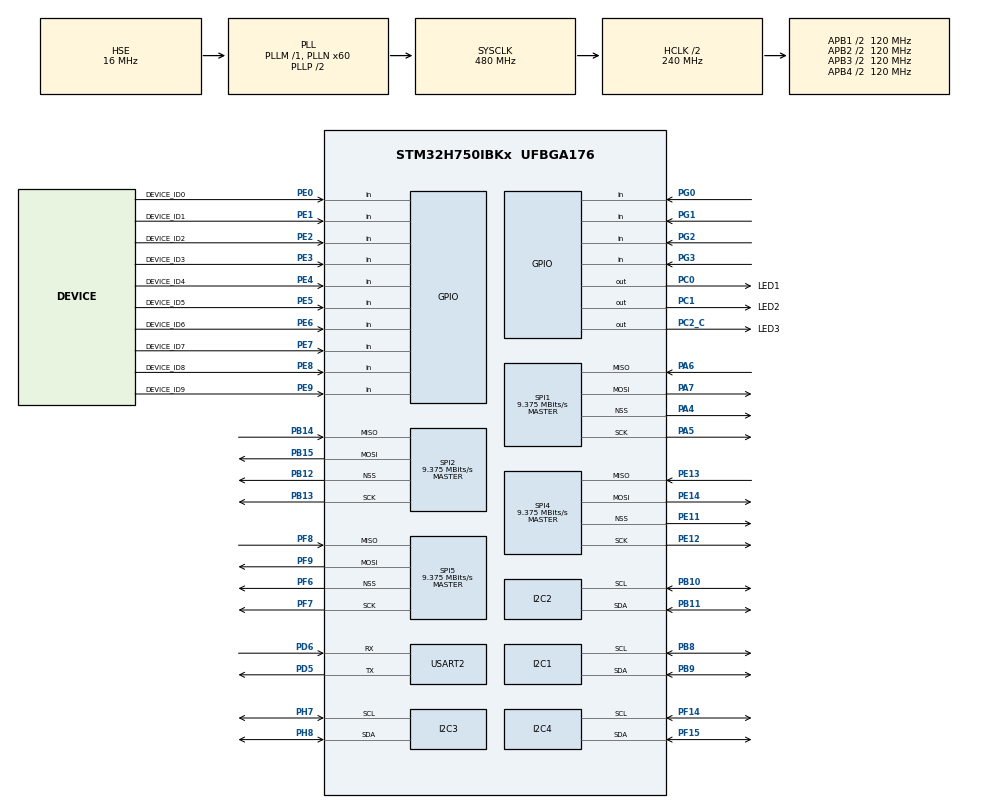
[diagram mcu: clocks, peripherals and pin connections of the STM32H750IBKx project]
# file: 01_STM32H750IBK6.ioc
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I2C1.Timing=0x307075B1
I2C2.Timing=0x307075B1
I2C3.Timing=0x307075B1
I2C4.Timing=0x307075B1
Mcu.Family=STM32H7
Mcu.Name=STM32H750IBKx
Mcu.Package=UFBGA176
NVIC.PriorityGroup=NVIC_PRIORITYGROUP_4
NVIC.USART2_IRQn=true\:0\:0\:false\:false\:true\:true\:true\:true
PA13\ (JTMS/SWDIO).Mode=JTAG_5_pins
PA13\ (JTMS/SWDIO).Signal=DEBUG_JTMS-SWDIO
PA14\ (JTCK/SWCLK).Mode=JTAG_5_pins
PA14\ (JTCK/SWCLK).Signal=DEBUG_JTCK-SWCLK
PA15\ (JTDI).Mode=JTAG_5_pins
PA15\ (JTDI).Signal=DEBUG_JTDI
PA4.Mode=NSS_Signal_Hard_Output
PA4.Signal=SPI1_NSS
PA5.Mode=Full_Duplex_Master
PA5.Signal=SPI1_SCK
PA6.Mode=Full_Duplex_Master
PA6.Signal=SPI1_MISO
PA7.Mode=Full_Duplex_Master
PA7.Signal=SPI1_MOSI
PB10.Mode=I2C
PB10.Signal=I2C2_SCL
PB11.Mode=I2C
PB11.Signal=I2C2_SDA
PB12.Mode=NSS_Signal_Hard_Output
PB12.Signal=SPI2_NSS
PB13.Mode=Full_Duplex_Master
PB13.Signal=SPI2_SCK
PB14.Mode=Full_Duplex_Master
PB14.Signal=SPI2_MISO
PB15.Mode=Full_Duplex_Master
PB15.Signal=SPI2_MOSI
PB3\ (JTDO/TRACESWO).Mode=JTAG_5_pins
PB3\ (JTDO/TRACESWO).Signal=DEBUG_JTDO-SWO
PB4\ (NJTRST).Mode=JTAG_5_pins
PB4\ (NJTRST).Signal=DEBUG_JTRST
PB8.Mode=I2C
PB8.Signal=I2C1_SCL
PB9.Mode=I2C
PB9.Signal=I2C1_SDA
PC0.GPIO_Label=LED1
PC0.PinState=GPIO_PIN_RESET
PC0.Signal=GPIO_Output
PC1.GPIO_Label=LED2
PC1.Signal=GPIO_Output
PC2_C.GPIO_Label=LED3
PC2_C.Signal=GPIO_Output
PD5.Mode=Asynchronous
PD5.Signal=USART2_TX
PD6.Mode=Asynchronous
PD6.Signal=USART2_RX
PE0.GPIO_Label=DEVICE_ID0
PE0.Signal=GPIO_Input
PE1.GPIO_Label=DEVICE_ID1
PE1.Signal=GPIO_Input
PE11.Mode=NSS_Signal_Hard_Output
PE11.Signal=SPI4_NSS
PE12.Mode=Full_Duplex_Master
PE12.Signal=SPI4_SCK
PE13.Mode=Full_Duplex_Master
PE13.Signal=SPI4_MISO
PE14.Mode=Full_Duplex_Master
PE14.Signal=SPI4_MOSI
PE2.GPIO_Label=DEVICE_ID2
PE2.Signal=GPIO_Input
PE3.GPIO_Label=DEVICE_ID3
PE3.Signal=GPIO_Input
PE4.GPIO_Label=DEVICE_ID4
PE4.Signal=GPIO_Input
PE5.GPIO_Label=DEVICE_ID5
PE5.Signal=GPIO_Input
PE6.GPIO_Label=DEVICE_ID6
PE6.Signal=GPIO_Input
PE7.GPIO_Label=DEVICE_ID7
PE7.Signal=GPIO_Input
PE8.GPIO_Label=DEVICE_ID8
PE8.Signal=GPIO_Input
PE9.GPIO_Label=DEVICE_ID9
PE9.Signal=GPIO_Input
PF14.Mode=I2C
PF14.Signal=I2C4_SCL
PF15.Mode=I2C
PF15.Signal=I2C4_SDA
PF6.Mode=NSS_Signal_Hard_Output
PF6.Signal=SPI5_NSS
PF7.Mode=Full_Duplex_Master
PF7.Signal=SPI5_SCK
PF8.Mode=Full_Duplex_Master
PF8.Signal=SPI5_MISO
PF9.Mode=Full_Duplex_Master
PF9.Signal=SPI5_MOSI
PG0.Signal=GPIO_Input
PG1.Signal=GPIO_Input
PG2.Signal=GPIO_Input
PG3.Signal=GPIO_Input
PH0-OSC_IN\ (PH0).Mode=HSE-External-Oscillator
PH0-OSC_IN\ (PH0).Signal=RCC_OSC_IN
PH1-OSC_OUT\ (PH1).Mode=HSE-External-Oscillator
PH1-OSC_OUT\ (PH1).Signal=RCC_OSC_OUT
PH7.Mode=I2C
PH7.Signal=I2C3_SCL
PH8.Mode=I2C
PH8.Signal=I2C3_SDA
ProjectManager.HeapSize=0x200
ProjectManager.StackSize=0x400
ProjectManager.TargetToolchain=STM32CubeIDE
RCC.ADCFreq_Value=75000000
RCC.APB1Freq_Value=120000000
RCC.APB2Freq_Value=120000000
RCC.APB3Freq_Value=120000000
RCC.APB4Freq_Value=120000000
RCC.CortexFreq_Value=480000000
RCC.D1PPRE=RCC_APB3_DIV2
RCC.D2PPRE1=RCC_APB1_DIV2
RCC.D2PPRE2=RCC_APB2_DIV2
RCC.D3PPRE=RCC_APB4_DIV2
RCC.DIVM1=1
RCC.DIVM2=1
RCC.DIVN1=60
RCC.DIVN2=9
RCC.DIVQ1=5
RCC.HCLKFreq_Value=240000000
RCC.HPRE=RCC_HCLK_DIV2
RCC.HSE_VALUE=16000000
RCC.PLL2FRACN=3072
RCC.PLL3FRACN=0
RCC.PLLFRACN=0
RCC.PLLSourceVirtual=RCC_PLLSOURCE_HSE
RCC.PWR_Regulator_Voltage_Scale=PWR_REGULATOR_VOLTAGE_SCALE0
RCC.SPI123CLockSelection=RCC_SPI123CLKSOURCE_PLL2
RCC.SYSCLKFreq_VALUE=480000000
RCC.SYSCLKSource=RCC_SYSCLKSOURCE_PLLCLK
RCC.Spi45ClockSelection=RCC_SPI45CLKSOURCE_PLL2
RCC.SupplySource=PWR_LDO_SUPPLY
RCC.USART234578CLockSelection=RCC_USART234578CLKSOURCE_PLL2
RCC.USBFreq_Value=192000000
SPI1.BaudRatePrescaler=SPI_BAUDRATEPRESCALER_8
SPI1.CLKPolarity=SPI_POLARITY_HIGH
SPI1.CalculateBaudRate=9.375 MBits/s
SPI1.DataSize=SPI_DATASIZE_16BIT
SPI1.Direction=SPI_DIRECTION_2LINES
SPI1.MasterKeepIOState=SPI_MASTER_KEEP_IO_STATE_ENABLE
SPI1.Mode=SPI_MODE_MASTER
SPI1.NSSPolarity=SPI_NSS_POLARITY_LOW
SPI1.VirtualNSS=VM_NSSHARD
SPI1.VirtualType=VM_MASTER
SPI2.BaudRatePrescaler=SPI_BAUDRATEPRESCALER_8
SPI2.CLKPolarity=SPI_POLARITY_HIGH
SPI2.CalculateBaudRate=9.375 MBits/s
SPI2.DataSize=SPI_DATASIZE_16BIT
SPI2.Direction=SPI_DIRECTION_2LINES
SPI2.MasterKeepIOState=SPI_MASTER_KEEP_IO_STATE_ENABLE
SPI2.Mode=SPI_MODE_MASTER
SPI2.VirtualNSS=VM_NSSHARD
SPI2.VirtualType=VM_MASTER
SPI4.BaudRatePrescaler=SPI_BAUDRATEPRESCALER_8
SPI4.CLKPolarity=SPI_POLARITY_HIGH
SPI4.CalculateBaudRate=9.375 MBits/s
SPI4.DataSize=SPI_DATASIZE_16BIT
SPI4.Direction=SPI_DIRECTION_2LINES
SPI4.MasterKeepIOState=SPI_MASTER_KEEP_IO_STATE_ENABLE
SPI4.Mode=SPI_MODE_MASTER
SPI4.VirtualNSS=VM_NSSHARD
SPI4.VirtualType=VM_MASTER
SPI5.BaudRatePrescaler=SPI_BAUDRATEPRESCALER_8
SPI5.CLKPolarity=SPI_POLARITY_HIGH
SPI5.CalculateBaudRate=9.375 MBits/s
SPI5.DataSize=SPI_DATASIZE_16BIT
SPI5.Direction=SPI_DIRECTION_2LINES
SPI5.MasterKeepIOState=SPI_MASTER_KEEP_IO_STATE_ENABLE
SPI5.Mode=SPI_MODE_MASTER
SPI5.VirtualNSS=VM_NSSHARD
SPI5.VirtualType=VM_MASTER
USART2.VirtualMode-Asynchronous=VM_ASYNC
board=custom

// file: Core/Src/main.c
/* USER CODE BEGIN Header */
/**
  ******************************************************************************
  * @file           : main.c
  * @brief          : Main program body
  ******************************************************************************
  * @attention *
  *
  * Copyright (c) 2022 STMicroelectronics.
  * All rights reserved.
  *
  * This software is licensed under terms that can be found in the LICENSE file
  * in the root directory of this software component.
  * If no LICENSE file comes with this software, it is provided AS-IS.
  *
  ******************************************************************************
  */
/* USER CODE END Header */
#include "main.h"

/* USER CODE BEGIN Includes */
#include "Define_Global.h"
#include "sub_main.h"
/* USER CODE END Includes */

I2C_HandleTypeDef hi2c1;
I2C_HandleTypeDef hi2c2;
I2C_HandleTypeDef hi2c3;
I2C_HandleTypeDef hi2c4;

SPI_HandleTypeDef hspi1;
SPI_HandleTypeDef hspi2;
SPI_HandleTypeDef hspi4;
SPI_HandleTypeDef hspi5;

UART_HandleTypeDef huart2;

/* USER CODE BEGIN PV */
#define		g_h_i2c1	(hi2c1)
#define		g_h_i2c2	(hi2c2)
#define		g_h_i2c3	(hi2c3)
#define		g_h_i2c4	(hi2c4)

#define		g_h_spi1	(hspi1)
#define		g_h_spi2	(hspi2)
#define		g_h_spi4	(hspi4)
#define		g_h_spi5	(hspi5)

#define		g_h_huart2	(huart2)

const uint8_t				HI2C1_ID = 0x28;
const uint8_t				HI2C2_ID = 0x28;
const uint8_t				HI2C3_ID = 0x28;
const uint8_t				HI2C4_ID = 0x28;
/* USER CODE END PV */

void SystemClock_Config(void);
void PeriphCommonClock_Config(void);
static void MX_GPIO_Init(void);
static void MX_I2C1_Init(void);
static void MX_I2C2_Init(void);
static void MX_I2C3_Init(void);
static void MX_I2C4_Init(void);
static void MX_SPI1_Init(void);
static void MX_SPI2_Init(void);
static void MX_SPI4_Init(void);
static void MX_SPI5_Init(void);
static void MX_USART2_UART_Init(void);
/* USER CODE BEGIN PFP */
void HAL_UART_RxCpltCallback(UART_HandleTypeDef*);
void HAL_UART_TxCpltCallback(UART_HandleTypeDef*);
/* USER CODE END PFP */

int main(void)
{

  /* MCU Configuration--------------------------------------------------------*/

  /* Reset of all peripherals, Initializes the Flash interface and the Systick. */
  HAL_Init();

  /* Configure the system clock */
  SystemClock_Config();

/* Configure the peripherals common clocks */
  PeriphCommonClock_Config();

  /* Initialize all configured peripherals */
  MX_GPIO_Init();
  MX_I2C1_Init();
  MX_I2C2_Init();
  MX_I2C3_Init();
  MX_I2C4_Init();
  MX_SPI1_Init();
  MX_SPI2_Init();
  MX_SPI4_Init();
  MX_SPI5_Init();
  MX_USART2_UART_Init();
  /* USER CODE BEGIN 2 */
  //	?��?��?�� ?��바이?���? 먼�? ?��?��?�� ?�� SUBMain_Initial�? ?��출한?��.
  g_p_huart2 = &g_h_huart2;

  g_hi2c_info_1.p_hi2c	= &g_h_i2c1;
  g_hi2c_info_1.id		= HI2C1_ID;

  g_hi2c_info_2.p_hi2c	= &g_h_i2c2;
  g_hi2c_info_2.id		= HI2C2_ID;

  g_hi2c_info_3.p_hi2c	= &g_h_i2c3;
  g_hi2c_info_3.id		= HI2C3_ID;

  g_hi2c_info_4.p_hi2c	= &g_h_i2c4;
  g_hi2c_info_4.id		= HI2C4_ID;

  g_p_hspi1 = &g_h_spi1;
  g_p_hspi2 = &g_h_spi2;
  g_p_hspi3 = &g_h_spi4;
  g_p_hspi4 = &g_h_spi5;

  SUBMain_Initial();
  /* USER CODE END 2 */

  /* Infinite loop */
  /* USER CODE BEGIN WHILE */
  SUBMain_InitModule();

  HAL_GPIO_WritePin(GPIOC, LED1_Pin, GPIO_PIN_SET);
  HAL_GPIO_WritePin(GPIOC, LED2_Pin, GPIO_PIN_SET);
  HAL_GPIO_WritePin(GPIOC, LED3_Pin, GPIO_PIN_SET);

  while (1)
  {
    /* USER CODE END WHILE */

    /* USER CODE BEGIN 3 */
	  HAL_GPIO_TogglePin(GPIOC, LED1_Pin);
	  HAL_GPIO_TogglePin(GPIOC, LED2_Pin);
	  SUBMain_Process();
  }
  /* USER CODE END 3 */
}

void SystemClock_Config(void)
{
  RCC_OscInitTypeDef RCC_OscInitStruct = {0};
  RCC_ClkInitTypeDef RCC_ClkInitStruct = {0};

  /** Supply configuration update enable
  */
  HAL_PWREx_ConfigSupply(PWR_LDO_SUPPLY);

  /** Configure the main internal regulator output voltage
  */
  __HAL_PWR_VOLTAGESCALING_CONFIG(PWR_REGULATOR_VOLTAGE_SCALE1);

  while(!__HAL_PWR_GET_FLAG(PWR_FLAG_VOSRDY)) {}

  __HAL_RCC_SYSCFG_CLK_ENABLE();
  __HAL_PWR_VOLTAGESCALING_CONFIG(PWR_REGULATOR_VOLTAGE_SCALE0);

  while(!__HAL_PWR_GET_FLAG(PWR_FLAG_VOSRDY)) {}

  /** Macro to configure the PLL clock source
  */
  __HAL_RCC_PLL_PLLSOURCE_CONFIG(RCC_PLLSOURCE_HSE);

  /** Initializes the RCC Oscillators according to the specified parameters
  * in the RCC_OscInitTypeDef structure.
  */
  RCC_OscInitStruct.OscillatorType = RCC_OSCILLATORTYPE_HSE;
  RCC_OscInitStruct.HSEState = RCC_HSE_ON;
  RCC_OscInitStruct.PLL.PLLState = RCC_PLL_ON;
  RCC_OscInitStruct.PLL.PLLSource = RCC_PLLSOURCE_HSE;
  RCC_OscInitStruct.PLL.PLLM = 1;
  RCC_OscInitStruct.PLL.PLLN = 60;
  RCC_OscInitStruct.PLL.PLLP = 2;
  RCC_OscInitStruct.PLL.PLLQ = 5;
  RCC_OscInitStruct.PLL.PLLR = 2;
  RCC_OscInitStruct.PLL.PLLRGE = RCC_PLL1VCIRANGE_3;
  RCC_OscInitStruct.PLL.PLLVCOSEL = RCC_PLL1VCOWIDE;
  RCC_OscInitStruct.PLL.PLLFRACN = 0;
  if (HAL_RCC_OscConfig(&RCC_OscInitStruct) != HAL_OK)
  {
    Error_Handler();
  }

  /** Initializes the CPU, AHB and APB buses clocks
  */
  RCC_ClkInitStruct.ClockType = RCC_CLOCKTYPE_HCLK|RCC_CLOCKTYPE_SYSCLK
                              |RCC_CLOCKTYPE_PCLK1|RCC_CLOCKTYPE_PCLK2
                              |RCC_CLOCKTYPE_D3PCLK1|RCC_CLOCKTYPE_D1PCLK1;
  RCC_ClkInitStruct.SYSCLKSource = RCC_SYSCLKSOURCE_PLLCLK;
  RCC_ClkInitStruct.SYSCLKDivider = RCC_SYSCLK_DIV1;
  RCC_ClkInitStruct.AHBCLKDivider = RCC_HCLK_DIV2;
  RCC_ClkInitStruct.APB3CLKDivider = RCC_APB3_DIV2;
  RCC_ClkInitStruct.APB1CLKDivider = RCC_APB1_DIV2;
  RCC_ClkInitStruct.APB2CLKDivider = RCC_APB2_DIV2;
  RCC_ClkInitStruct.APB4CLKDivider = RCC_APB4_DIV2;

  if (HAL_RCC_ClockConfig(&RCC_ClkInitStruct, FLASH_LATENCY_4) != HAL_OK)
  {
    Error_Handler();
  }
}

void PeriphCommonClock_Config(void)
{
  RCC_PeriphCLKInitTypeDef PeriphClkInitStruct = {0};

  /** Initializes the peripherals clock
  */
  PeriphClkInitStruct.PeriphClockSelection = RCC_PERIPHCLK_SPI2|RCC_PERIPHCLK_SPI1
                              |RCC_PERIPHCLK_SPI4|RCC_PERIPHCLK_SPI5
                              |RCC_PERIPHCLK_USART2;
  PeriphClkInitStruct.PLL2.PLL2M = 1;
  PeriphClkInitStruct.PLL2.PLL2N = 9;
  PeriphClkInitStruct.PLL2.PLL2P = 2;
  PeriphClkInitStruct.PLL2.PLL2Q = 2;
  PeriphClkInitStruct.PLL2.PLL2R = 2;
  PeriphClkInitStruct.PLL2.PLL2RGE = RCC_PLL2VCIRANGE_3;
  PeriphClkInitStruct.PLL2.PLL2VCOSEL = RCC_PLL2VCOMEDIUM;
  PeriphClkInitStruct.PLL2.PLL2FRACN = 3072;
  PeriphClkInitStruct.Spi123ClockSelection = RCC_SPI123CLKSOURCE_PLL2;
  PeriphClkInitStruct.Spi45ClockSelection = RCC_SPI45CLKSOURCE_PLL2;
  PeriphClkInitStruct.Usart234578ClockSelection = RCC_USART234578CLKSOURCE_PLL2;
  if (HAL_RCCEx_PeriphCLKConfig(&PeriphClkInitStruct) != HAL_OK)
  {
    Error_Handler();
  }
}

static void MX_I2C1_Init(void)
{

  hi2c1.Instance = I2C1;
  hi2c1.Init.Timing = 0x307075B1;
  hi2c1.Init.OwnAddress1 = 0;
  hi2c1.Init.AddressingMode = I2C_ADDRESSINGMODE_7BIT;
  hi2c1.Init.DualAddressMode = I2C_DUALADDRESS_DISABLE;
  hi2c1.Init.OwnAddress2 = 0;
  hi2c1.Init.OwnAddress2Masks = I2C_OA2_NOMASK;
  hi2c1.Init.GeneralCallMode = I2C_GENERALCALL_DISABLE;
  hi2c1.Init.NoStretchMode = I2C_NOSTRETCH_DISABLE;
  if (HAL_I2C_Init(&hi2c1) != HAL_OK)
  {
    Error_Handler();
  }

  /** Configure Analogue filter
  */
  if (HAL_I2CEx_ConfigAnalogFilter(&hi2c1, I2C_ANALOGFILTER_ENABLE) != HAL_OK)
  {
    Error_Handler();
  }

  /** Configure Digital filter
  */
  if (HAL_I2CEx_ConfigDigitalFilter(&hi2c1, 0) != HAL_OK)
  {
    Error_Handler();
  }

}

static void MX_I2C2_Init(void)
{

  hi2c2.Instance = I2C2;
  hi2c2.Init.Timing = 0x307075B1;
  hi2c2.Init.OwnAddress1 = 0;
  hi2c2.Init.AddressingMode = I2C_ADDRESSINGMODE_7BIT;
  hi2c2.Init.DualAddressMode = I2C_DUALADDRESS_DISABLE;
  hi2c2.Init.OwnAddress2 = 0;
  hi2c2.Init.OwnAddress2Masks = I2C_OA2_NOMASK;
  hi2c2.Init.GeneralCallMode = I2C_GENERALCALL_DISABLE;
  hi2c2.Init.NoStretchMode = I2C_NOSTRETCH_DISABLE;
  if (HAL_I2C_Init(&hi2c2) != HAL_OK)
  {
    Error_Handler();
  }

  /** Configure Analogue filter
  */
  if (HAL_I2CEx_ConfigAnalogFilter(&hi2c2, I2C_ANALOGFILTER_ENABLE) != HAL_OK)
  {
    Error_Handler();
  }

  /** Configure Digital filter
  */
  if (HAL_I2CEx_ConfigDigitalFilter(&hi2c2, 0) != HAL_OK)
  {
    Error_Handler();
  }

}

static void MX_I2C3_Init(void)
{

  hi2c3.Instance = I2C3;
  hi2c3.Init.Timing = 0x307075B1;
  hi2c3.Init.OwnAddress1 = 0;
  hi2c3.Init.AddressingMode = I2C_ADDRESSINGMODE_7BIT;
  hi2c3.Init.DualAddressMode = I2C_DUALADDRESS_DISABLE;
  hi2c3.Init.OwnAddress2 = 0;
  hi2c3.Init.OwnAddress2Masks = I2C_OA2_NOMASK;
  hi2c3.Init.GeneralCallMode = I2C_GENERALCALL_DISABLE;
  hi2c3.Init.NoStretchMode = I2C_NOSTRETCH_DISABLE;
  if (HAL_I2C_Init(&hi2c3) != HAL_OK)
  {
    Error_Handler();
  }

  /** Configure Analogue filter
  */
  if (HAL_I2CEx_ConfigAnalogFilter(&hi2c3, I2C_ANALOGFILTER_ENABLE) != HAL_OK)
  {
    Error_Handler();
  }

  /** Configure Digital filter
  */
  if (HAL_I2CEx_ConfigDigitalFilter(&hi2c3, 0) != HAL_OK)
  {
    Error_Handler();
  }

}

static void MX_I2C4_Init(void)
{

  hi2c4.Instance = I2C4;
  hi2c4.Init.Timing = 0x307075B1;
  hi2c4.Init.OwnAddress1 = 0;
  hi2c4.Init.AddressingMode = I2C_ADDRESSINGMODE_7BIT;
  hi2c4.Init.DualAddressMode = I2C_DUALADDRESS_DISABLE;
  hi2c4.Init.OwnAddress2 = 0;
  hi2c4.Init.OwnAddress2Masks = I2C_OA2_NOMASK;
  hi2c4.Init.GeneralCallMode = I2C_GENERALCALL_DISABLE;
  hi2c4.Init.NoStretchMode = I2C_NOSTRETCH_DISABLE;
  if (HAL_I2C_Init(&hi2c4) != HAL_OK)
  {
    Error_Handler();
  }

  /** Configure Analogue filter
  */
  if (HAL_I2CEx_ConfigAnalogFilter(&hi2c4, I2C_ANALOGFILTER_ENABLE) != HAL_OK)
  {
    Error_Handler();
  }

  /** Configure Digital filter
  */
  if (HAL_I2CEx_ConfigDigitalFilter(&hi2c4, 0) != HAL_OK)
  {
    Error_Handler();
  }

}

static void MX_SPI1_Init(void)
{

  /* SPI1 parameter configuration*/
  hspi1.Instance = SPI1;
  hspi1.Init.Mode = SPI_MODE_MASTER;
  hspi1.Init.Direction = SPI_DIRECTION_2LINES;
  hspi1.Init.DataSize = SPI_DATASIZE_16BIT;
  hspi1.Init.CLKPolarity = SPI_POLARITY_HIGH;
  hspi1.Init.CLKPhase = SPI_PHASE_1EDGE;
  hspi1.Init.NSS = SPI_NSS_HARD_OUTPUT;
  hspi1.Init.BaudRatePrescaler = SPI_BAUDRATEPRESCALER_8;
  hspi1.Init.FirstBit = SPI_FIRSTBIT_MSB;
  hspi1.Init.TIMode = SPI_TIMODE_DISABLE;
  hspi1.Init.CRCCalculation = SPI_CRCCALCULATION_DISABLE;
  hspi1.Init.CRCPolynomial = 0x0;
  hspi1.Init.NSSPMode = SPI_NSS_PULSE_ENABLE;
  hspi1.Init.NSSPolarity = SPI_NSS_POLARITY_LOW;
  hspi1.Init.FifoThreshold = SPI_FIFO_THRESHOLD_01DATA;
  hspi1.Init.TxCRCInitializationPattern = SPI_CRC_INITIALIZATION_ALL_ZERO_PATTERN;
  hspi1.Init.RxCRCInitializationPattern = SPI_CRC_INITIALIZATION_ALL_ZERO_PATTERN;
  hspi1.Init.MasterSSIdleness = SPI_MASTER_SS_IDLENESS_00CYCLE;
  hspi1.Init.MasterInterDataIdleness = SPI_MASTER_INTERDATA_IDLENESS_00CYCLE;
  hspi1.Init.MasterReceiverAutoSusp = SPI_MASTER_RX_AUTOSUSP_DISABLE;
  hspi1.Init.MasterKeepIOState = SPI_MASTER_KEEP_IO_STATE_ENABLE;
  hspi1.Init.IOSwap = SPI_IO_SWAP_DISABLE;
  if (HAL_SPI_Init(&hspi1) != HAL_OK)
  {
    Error_Handler();
  }

}

static void MX_SPI2_Init(void)
{

  /* SPI2 parameter configuration*/
  hspi2.Instance = SPI2;
  hspi2.Init.Mode = SPI_MODE_MASTER;
  hspi2.Init.Direction = SPI_DIRECTION_2LINES;
  hspi2.Init.DataSize = SPI_DATASIZE_16BIT;
  hspi2.Init.CLKPolarity = SPI_POLARITY_HIGH;
  hspi2.Init.CLKPhase = SPI_PHASE_1EDGE;
  hspi2.Init.NSS = SPI_NSS_HARD_OUTPUT;
  hspi2.Init.BaudRatePrescaler = SPI_BAUDRATEPRESCALER_8;
  hspi2.Init.FirstBit = SPI_FIRSTBIT_MSB;
  hspi2.Init.TIMode = SPI_TIMODE_DISABLE;
  hspi2.Init.CRCCalculation = SPI_CRCCALCULATION_DISABLE;
  hspi2.Init.CRCPolynomial = 0x0;
  hspi2.Init.NSSPMode = SPI_NSS_PULSE_ENABLE;
  hspi2.Init.NSSPolarity = SPI_NSS_POLARITY_LOW;
  hspi2.Init.FifoThreshold = SPI_FIFO_THRESHOLD_01DATA;
  hspi2.Init.TxCRCInitializationPattern = SPI_CRC_INITIALIZATION_ALL_ZERO_PATTERN;
  hspi2.Init.RxCRCInitializationPattern = SPI_CRC_INITIALIZATION_ALL_ZERO_PATTERN;
  hspi2.Init.MasterSSIdleness = SPI_MASTER_SS_IDLENESS_00CYCLE;
  hspi2.Init.MasterInterDataIdleness = SPI_MASTER_INTERDATA_IDLENESS_00CYCLE;
  hspi2.Init.MasterReceiverAutoSusp = SPI_MASTER_RX_AUTOSUSP_DISABLE;
  hspi2.Init.MasterKeepIOState = SPI_MASTER_KEEP_IO_STATE_ENABLE;
  hspi2.Init.IOSwap = SPI_IO_SWAP_DISABLE;
  if (HAL_SPI_Init(&hspi2) != HAL_OK)
  {
    Error_Handler();
  }

}

static void MX_SPI4_Init(void)
{

  /* SPI4 parameter configuration*/
  hspi4.Instance = SPI4;
  hspi4.Init.Mode = SPI_MODE_MASTER;
  hspi4.Init.Direction = SPI_DIRECTION_2LINES;
  hspi4.Init.DataSize = SPI_DATASIZE_16BIT;
  hspi4.Init.CLKPolarity = SPI_POLARITY_HIGH;
  hspi4.Init.CLKPhase = SPI_PHASE_1EDGE;
  hspi4.Init.NSS = SPI_NSS_HARD_OUTPUT;
  hspi4.Init.BaudRatePrescaler = SPI_BAUDRATEPRESCALER_8;
  hspi4.Init.FirstBit = SPI_FIRSTBIT_MSB;
  hspi4.Init.TIMode = SPI_TIMODE_DISABLE;
  hspi4.Init.CRCCalculation = SPI_CRCCALCULATION_DISABLE;
  hspi4.Init.CRCPolynomial = 0x0;
  hspi4.Init.NSSPMode = SPI_NSS_PULSE_ENABLE;
  hspi4.Init.NSSPolarity = SPI_NSS_POLARITY_LOW;
  hspi4.Init.FifoThreshold = SPI_FIFO_THRESHOLD_01DATA;
  hspi4.Init.TxCRCInitializationPattern = SPI_CRC_INITIALIZATION_ALL_ZERO_PATTERN;
  hspi4.Init.RxCRCInitializationPattern = SPI_CRC_INITIALIZATION_ALL_ZERO_PATTERN;
  hspi4.Init.MasterSSIdleness = SPI_MASTER_SS_IDLENESS_00CYCLE;
  hspi4.Init.MasterInterDataIdleness = SPI_MASTER_INTERDATA_IDLENESS_00CYCLE;
  hspi4.Init.MasterReceiverAutoSusp = SPI_MASTER_RX_AUTOSUSP_DISABLE;
  hspi4.Init.MasterKeepIOState = SPI_MASTER_KEEP_IO_STATE_ENABLE;
  hspi4.Init.IOSwap = SPI_IO_SWAP_DISABLE;
  if (HAL_SPI_Init(&hspi4) != HAL_OK)
  {
    Error_Handler();
  }

}

static void MX_SPI5_Init(void)
{

  /* SPI5 parameter configuration*/
  hspi5.Instance = SPI5;
  hspi5.Init.Mode = SPI_MODE_MASTER;
  hspi5.Init.Direction = SPI_DIRECTION_2LINES;
  hspi5.Init.DataSize = SPI_DATASIZE_16BIT;
  hspi5.Init.CLKPolarity = SPI_POLARITY_HIGH;
  hspi5.Init.CLKPhase = SPI_PHASE_1EDGE;
  hspi5.Init.NSS = SPI_NSS_HARD_OUTPUT;
  hspi5.Init.BaudRatePrescaler = SPI_BAUDRATEPRESCALER_8;
  hspi5.Init.FirstBit = SPI_FIRSTBIT_MSB;
  hspi5.Init.TIMode = SPI_TIMODE_DISABLE;
  hspi5.Init.CRCCalculation = SPI_CRCCALCULATION_DISABLE;
  hspi5.Init.CRCPolynomial = 0x0;
  hspi5.Init.NSSPMode = SPI_NSS_PULSE_ENABLE;
  hspi5.Init.NSSPolarity = SPI_NSS_POLARITY_LOW;
  hspi5.Init.FifoThreshold = SPI_FIFO_THRESHOLD_01DATA;
  hspi5.Init.TxCRCInitializationPattern = SPI_CRC_INITIALIZATION_ALL_ZERO_PATTERN;
  hspi5.Init.RxCRCInitializationPattern = SPI_CRC_INITIALIZATION_ALL_ZERO_PATTERN;
  hspi5.Init.MasterSSIdleness = SPI_MASTER_SS_IDLENESS_00CYCLE;
  hspi5.Init.MasterInterDataIdleness = SPI_MASTER_INTERDATA_IDLENESS_00CYCLE;
  hspi5.Init.MasterReceiverAutoSusp = SPI_MASTER_RX_AUTOSUSP_DISABLE;
  hspi5.Init.MasterKeepIOState = SPI_MASTER_KEEP_IO_STATE_ENABLE;
  hspi5.Init.IOSwap = SPI_IO_SWAP_DISABLE;
  if (HAL_SPI_Init(&hspi5) != HAL_OK)
  {
    Error_Handler();
  }

}

static void MX_USART2_UART_Init(void)
{

  huart2.Instance = USART2;
  huart2.Init.BaudRate = 115200;
  huart2.Init.WordLength = UART_WORDLENGTH_8B;
  huart2.Init.StopBits = UART_STOPBITS_1;
  huart2.Init.Parity = UART_PARITY_NONE;
  huart2.Init.Mode = UART_MODE_TX_RX;
  huart2.Init.HwFlowCtl = UART_HWCONTROL_NONE;
  huart2.Init.OverSampling = UART_OVERSAMPLING_16;
  huart2.Init.OneBitSampling = UART_ONE_BIT_SAMPLE_DISABLE;
  huart2.Init.ClockPrescaler = UART_PRESCALER_DIV1;
  huart2.AdvancedInit.AdvFeatureInit = UART_ADVFEATURE_NO_INIT;
  if (HAL_UART_Init(&huart2) != HAL_OK)
  {
    Error_Handler();
  }
  if (HAL_UARTEx_SetTxFifoThreshold(&huart2, UART_TXFIFO_THRESHOLD_1_8) != HAL_OK)
  {
    Error_Handler();
  }
  if (HAL_UARTEx_SetRxFifoThreshold(&huart2, UART_RXFIFO_THRESHOLD_1_8) != HAL_OK)
  {
    Error_Handler();
  }
  if (HAL_UARTEx_DisableFifoMode(&huart2) != HAL_OK)
  {
    Error_Handler();
  }

}

static void MX_GPIO_Init(void)
{
  GPIO_InitTypeDef GPIO_InitStruct = {0};

  /* GPIO Ports Clock Enable */
  __HAL_RCC_GPIOE_CLK_ENABLE();
  __HAL_RCC_GPIOB_CLK_ENABLE();
  __HAL_RCC_GPIOA_CLK_ENABLE();
  __HAL_RCC_GPIOD_CLK_ENABLE();
  __HAL_RCC_GPIOH_CLK_ENABLE();
  __HAL_RCC_GPIOF_CLK_ENABLE();
  __HAL_RCC_GPIOG_CLK_ENABLE();
  __HAL_RCC_GPIOC_CLK_ENABLE();

  /*Configure GPIO pin Output Level */
  HAL_GPIO_WritePin(GPIOC, LED1_Pin|LED2_Pin|LED3_Pin, GPIO_PIN_RESET);

  /*Configure GPIO pins : DEVICE_ID3_Pin DEVICE_ID2_Pin DEVICE_ID1_Pin DEVICE_ID0_Pin
                           DEVICE_ID4_Pin DEVICE_ID5_Pin DEVICE_ID6_Pin DEVICE_ID8_Pin
                           DEVICE_ID9_Pin DEVICE_ID7_Pin */
  GPIO_InitStruct.Pin = DEVICE_ID3_Pin|DEVICE_ID2_Pin|DEVICE_ID1_Pin|DEVICE_ID0_Pin
                          |DEVICE_ID4_Pin|DEVICE_ID5_Pin|DEVICE_ID6_Pin|DEVICE_ID8_Pin
                          |DEVICE_ID9_Pin|DEVICE_ID7_Pin;
  GPIO_InitStruct.Mode = GPIO_MODE_INPUT;
  GPIO_InitStruct.Pull = GPIO_NOPULL;
  HAL_GPIO_Init(GPIOE, &GPIO_InitStruct);

  /*Configure GPIO pins : PG3 PG2 PG1 PG0 */
  GPIO_InitStruct.Pin = GPIO_PIN_3|GPIO_PIN_2|GPIO_PIN_1|GPIO_PIN_0;
  GPIO_InitStruct.Mode = GPIO_MODE_INPUT;
  GPIO_InitStruct.Pull = GPIO_NOPULL;
  HAL_GPIO_Init(GPIOG, &GPIO_InitStruct);

  /*Configure GPIO pins : LED1_Pin LED2_Pin LED3_Pin */
  GPIO_InitStruct.Pin = LED1_Pin|LED2_Pin|LED3_Pin;
  GPIO_InitStruct.Mode = GPIO_MODE_OUTPUT_PP;
  GPIO_InitStruct.Pull = GPIO_NOPULL;
  GPIO_InitStruct.Speed = GPIO_SPEED_FREQ_LOW;
  HAL_GPIO_Init(GPIOC, &GPIO_InitStruct);

}

/* USER CODE BEGIN 4 */
void HAL_UART_RxCpltCallback(UART_HandleTypeDef* _p_uart_info)
{
	SUBMain_UARTRx_IT(_p_uart_info);
}

void HAL_UART_TxCpltCallback(UART_HandleTypeDef* _p_uart_info)
{
	SUBMain_UARTTx_IT(_p_uart_info);
}
/* USER CODE END 4 */

void Error_Handler(void)
{
  __disable_irq();
  while (1)
  {
  }
}
